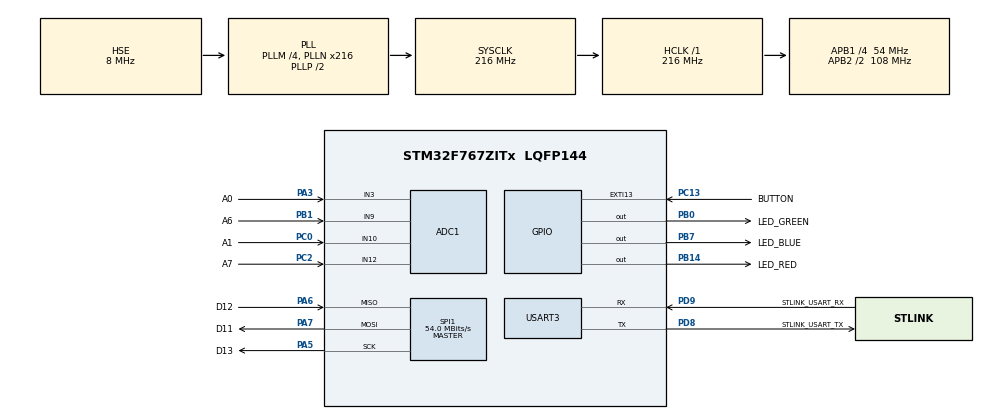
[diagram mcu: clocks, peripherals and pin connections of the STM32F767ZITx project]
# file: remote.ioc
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ADC1.Channel-0\#ChannelRegularConversion=ADC_CHANNEL_9
ADC1.NbrOfConversionFlag=1
ADC1.Rank-0\#ChannelRegularConversion=1
ADC1.SamplingTime-0\#ChannelRegularConversion=ADC_SAMPLETIME_3CYCLES
ADC1.master=1
FREERTOS.Tasks01=adcTask,0,128,StartAdcTask,Default,NULL,Dynamic,NULL,NULL;blinkTask,-3,128,StartBlinkTask,Default,NULL,Dynamic,NULL,NULL
Mcu.Family=STM32F7
Mcu.Name=STM32F767ZITx
Mcu.Package=LQFP144
NVIC.EXTI15_10_IRQn=true\:5\:0\:false\:false\:true\:true\:true\:true
NVIC.PriorityGroup=NVIC_PRIORITYGROUP_4
NVIC.TIM2_IRQn=true\:0\:0\:false\:false\:true\:false\:false\:true
NVIC.TimeBase=TIM2_IRQn
NVIC.TimeBaseIP=TIM2
NVIC.USART3_IRQn=true\:5\:0\:false\:false\:true\:true\:true\:true
PA3.GPIO_Label=A0
PA3.Signal=ADCx_IN3
PA5.GPIO_Label=D13
PA5.Mode=Full_Duplex_Master
PA5.Signal=SPI1_SCK
PA6.GPIO_Label=D12
PA6.Mode=Full_Duplex_Master
PA6.Signal=SPI1_MISO
PA7.GPIO_Label=D11
PA7.Mode=Full_Duplex_Master
PA7.Signal=SPI1_MOSI
PB0.GPIO_Label=LED_GREEN
PB0.Signal=GPIO_Output
PB1.GPIO_Label=A6
PB1.Signal=ADCx_IN9
PB14.GPIO_Label=LED_RED
PB14.Signal=GPIO_Output
PB7.GPIO_Label=LED_BLUE
PB7.Signal=GPIO_Output
PC0.GPIO_Label=A1
PC0.Signal=ADCx_IN10
PC13.GPIO_Label=BUTTON
PC13.Signal=GPXTI13
PC14/OSC32_IN.Mode=LSE-External-Oscillator
PC14/OSC32_IN.Signal=RCC_OSC32_IN
PC15/OSC32_OUT.Mode=LSE-External-Oscillator
PC15/OSC32_OUT.Signal=RCC_OSC32_OUT
PC2.GPIO_Label=A7
PC2.Signal=ADCx_IN12
PD8.GPIO_Label=STLINK_USART_TX
PD8.Mode=Asynchronous
PD8.Signal=USART3_TX
PD9.GPIO_Label=STLINK_USART_RX
PD9.Mode=Asynchronous
PD9.Signal=USART3_RX
PH0/OSC_IN.Mode=HSE-External-Oscillator
PH0/OSC_IN.Signal=RCC_OSC_IN
PH1/OSC_OUT.Mode=HSE-External-Oscillator
PH1/OSC_OUT.Signal=RCC_OSC_OUT
ProjectManager.HeapSize=0x200
ProjectManager.StackSize=0x400
ProjectManager.TargetToolchain=EWARM V8.32
RCC.AHBFreq_Value=216000000
RCC.APB1CLKDivider=RCC_HCLK_DIV4
RCC.APB1Freq_Value=54000000
RCC.APB1TimFreq_Value=108000000
RCC.APB2CLKDivider=RCC_HCLK_DIV2
RCC.APB2Freq_Value=108000000
RCC.APB2TimFreq_Value=216000000
RCC.CortexFreq_Value=216000000
RCC.HCLKFreq_Value=216000000
RCC.HSE_VALUE=8000000
RCC.HSI_VALUE=16000000
RCC.PLLM=4
RCC.PLLN=216
RCC.PLLSourceVirtual=RCC_PLLSOURCE_HSE
RCC.SYSCLKFreq_VALUE=216000000
RCC.SYSCLKSource=RCC_SYSCLKSOURCE_PLLCLK
RCC.USBFreq_Value=216000000
RCC.VCOOutputFreq_Value=432000000
SH.ADCx_IN10.0=ADC1_IN10,IN10
SH.ADCx_IN12.0=ADC1_IN12,IN12
SH.ADCx_IN3.0=ADC1_IN3,IN3
SH.ADCx_IN9.0=ADC1_IN9,IN9
SPI1.CalculateBaudRate=54.0 MBits/s
SPI1.DataSize=SPI_DATASIZE_8BIT
SPI1.Direction=SPI_DIRECTION_2LINES
SPI1.Mode=SPI_MODE_MASTER
SPI1.VirtualType=VM_MASTER
USART3.VirtualMode-Asynchronous=VM_ASYNC
VP_FREERTOS_VS_CMSIS_V1.Mode=CMSIS_V1
VP_SYS_VS_tim2.Mode=TIM2
board=custom

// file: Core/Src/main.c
/* USER CODE BEGIN Header */
/**
  ******************************************************************************
  * @file           : main.c
  * @brief          : Main program body
  ******************************************************************************
  * @attention
  *
  * <h2><center>&copy; Copyright (c) 2021 STMicroelectronics.
  * All rights reserved.</center></h2>
  *
  * This software component is licensed by ST under Ultimate Liberty license
  * SLA0044, the "License"; You may not use this file except in compliance with
  * the License. You may obtain a copy of the License at:
  *                             www.st.com/SLA0044
  *
  ******************************************************************************
  */
/* USER CODE END Header */
#include "main.h"
#include "cmsis_os.h"

/* USER CODE BEGIN Includes */
#include <stdio.h>
/* USER CODE END Includes */

ADC_HandleTypeDef hadc1;

SPI_HandleTypeDef hspi1;

UART_HandleTypeDef huart3;

osThreadId adcTaskHandle;
osThreadId blinkTaskHandle;
/* USER CODE BEGIN PV */
int throttleValue;
int yawValue;
int pitchValue;
int rollValue;
/* USER CODE END PV */

void SystemClock_Config(void);
static void MX_GPIO_Init(void);
static void MX_USART3_UART_Init(void);
static void MX_ADC1_Init(void);
static void MX_SPI1_Init(void);
void StartAdcTask(void const * argument);
void StartBlinkTask(void const * argument);

/* USER CODE BEGIN 0 */
/**
  * @brief  Overwrite the standard printf function
  * @param  ch character
  * @param  stream stream of bytes
  * @retval sent character
  */
int fputc(int ch, FILE* stream)
{
  HAL_UART_Transmit(&huart3, (uint8_t *)&ch, 1, 0xFFFF);
  return ch;
}

/**
  * @brief  map a value from a given range to another given range
  * @param  x the value to map
  * @param  in_min first range min value
  * @param  in_max first range max value
  * @param  in_min second range min value
  * @param  in_max second range max value
  * @retval the mapped value
  */
int map(int x, int in_min, int in_max, int out_min, int out_max)
{
  return (x - in_min) * (out_max - out_min) / (in_max - in_min) + out_min;
}
/* USER CODE END 0 */

int main(void)
{

  /* MCU Configuration--------------------------------------------------------*/

  /* Reset of all peripherals, Initializes the Flash interface and the Systick. */
  HAL_Init();

  /* Configure the system clock */
  SystemClock_Config();

  /* Initialize all configured peripherals */
  MX_GPIO_Init();
  MX_USART3_UART_Init();
  MX_ADC1_Init();
  MX_SPI1_Init();

  /* Create the thread(s) */
  /* definition and creation of adcTask */
  osThreadDef(adcTask, StartAdcTask, osPriorityNormal, 0, 128);
  adcTaskHandle = osThreadCreate(osThread(adcTask), NULL);

  /* definition and creation of blinkTask */
  osThreadDef(blinkTask, StartBlinkTask, osPriorityIdle, 0, 128);
  blinkTaskHandle = osThreadCreate(osThread(blinkTask), NULL);

  /* Start scheduler */
  osKernelStart();

  /* We should never get here as control is now taken by the scheduler */
  /* Infinite loop */
  while (1)
  {

  }
}

void SystemClock_Config(void)
{
  RCC_OscInitTypeDef RCC_OscInitStruct = {0};
  RCC_ClkInitTypeDef RCC_ClkInitStruct = {0};
  RCC_PeriphCLKInitTypeDef PeriphClkInitStruct = {0};

  /** Configure LSE Drive Capability
  */
  HAL_PWR_EnableBkUpAccess();
  /** Configure the main internal regulator output voltage
  */
  __HAL_RCC_PWR_CLK_ENABLE();
  __HAL_PWR_VOLTAGESCALING_CONFIG(PWR_REGULATOR_VOLTAGE_SCALE1);
  /** Initializes the RCC Oscillators according to the specified parameters
  * in the RCC_OscInitTypeDef structure.
  */
  RCC_OscInitStruct.OscillatorType = RCC_OSCILLATORTYPE_HSE;
  RCC_OscInitStruct.HSEState = RCC_HSE_ON;
  RCC_OscInitStruct.PLL.PLLState = RCC_PLL_ON;
  RCC_OscInitStruct.PLL.PLLSource = RCC_PLLSOURCE_HSE;
  RCC_OscInitStruct.PLL.PLLM = 4;
  RCC_OscInitStruct.PLL.PLLN = 216;
  RCC_OscInitStruct.PLL.PLLP = RCC_PLLP_DIV2;
  RCC_OscInitStruct.PLL.PLLQ = 2;
  if (HAL_RCC_OscConfig(&RCC_OscInitStruct) != HAL_OK)
  {
    Error_Handler();
  }
  /** Activate the Over-Drive mode
  */
  if (HAL_PWREx_EnableOverDrive() != HAL_OK)
  {
    Error_Handler();
  }
  /** Initializes the CPU, AHB and APB buses clocks
  */
  RCC_ClkInitStruct.ClockType = RCC_CLOCKTYPE_HCLK|RCC_CLOCKTYPE_SYSCLK
                              |RCC_CLOCKTYPE_PCLK1|RCC_CLOCKTYPE_PCLK2;
  RCC_ClkInitStruct.SYSCLKSource = RCC_SYSCLKSOURCE_PLLCLK;
  RCC_ClkInitStruct.AHBCLKDivider = RCC_SYSCLK_DIV1;
  RCC_ClkInitStruct.APB1CLKDivider = RCC_HCLK_DIV4;
  RCC_ClkInitStruct.APB2CLKDivider = RCC_HCLK_DIV2;

  if (HAL_RCC_ClockConfig(&RCC_ClkInitStruct, FLASH_LATENCY_7) != HAL_OK)
  {
    Error_Handler();
  }
  PeriphClkInitStruct.PeriphClockSelection = RCC_PERIPHCLK_USART3;
  PeriphClkInitStruct.Usart3ClockSelection = RCC_USART3CLKSOURCE_PCLK1;
  if (HAL_RCCEx_PeriphCLKConfig(&PeriphClkInitStruct) != HAL_OK)
  {
    Error_Handler();
  }
}

static void MX_ADC1_Init(void)
{

  ADC_ChannelConfTypeDef sConfig = {0};

  /** Configure the global features of the ADC (Clock, Resolution, Data Alignment and number of conversion)
  */
  hadc1.Instance = ADC1;
  hadc1.Init.ClockPrescaler = ADC_CLOCK_SYNC_PCLK_DIV4;
  hadc1.Init.Resolution = ADC_RESOLUTION_12B;
  hadc1.Init.ScanConvMode = ADC_SCAN_DISABLE;
  hadc1.Init.ContinuousConvMode = DISABLE;
  hadc1.Init.DiscontinuousConvMode = DISABLE;
  hadc1.Init.ExternalTrigConvEdge = ADC_EXTERNALTRIGCONVEDGE_NONE;
  hadc1.Init.ExternalTrigConv = ADC_SOFTWARE_START;
  hadc1.Init.DataAlign = ADC_DATAALIGN_RIGHT;
  hadc1.Init.NbrOfConversion = 1;
  hadc1.Init.DMAContinuousRequests = DISABLE;
  hadc1.Init.EOCSelection = ADC_EOC_SINGLE_CONV;
  if (HAL_ADC_Init(&hadc1) != HAL_OK)
  {
    Error_Handler();
  }
  /** Configure for the selected ADC regular channel its corresponding rank in the sequencer and its sample time.
  */
  sConfig.Channel = ADC_CHANNEL_9;
  sConfig.Rank = ADC_REGULAR_RANK_1;
  sConfig.SamplingTime = ADC_SAMPLETIME_3CYCLES;
  if (HAL_ADC_ConfigChannel(&hadc1, &sConfig) != HAL_OK)
  {
    Error_Handler();
  }

}

static void MX_SPI1_Init(void)
{

  /* SPI1 parameter configuration*/
  hspi1.Instance = SPI1;
  hspi1.Init.Mode = SPI_MODE_MASTER;
  hspi1.Init.Direction = SPI_DIRECTION_2LINES;
  hspi1.Init.DataSize = SPI_DATASIZE_8BIT;
  hspi1.Init.CLKPolarity = SPI_POLARITY_LOW;
  hspi1.Init.CLKPhase = SPI_PHASE_1EDGE;
  hspi1.Init.NSS = SPI_NSS_SOFT;
  hspi1.Init.BaudRatePrescaler = SPI_BAUDRATEPRESCALER_2;
  hspi1.Init.FirstBit = SPI_FIRSTBIT_MSB;
  hspi1.Init.TIMode = SPI_TIMODE_DISABLE;
  hspi1.Init.CRCCalculation = SPI_CRCCALCULATION_DISABLE;
  hspi1.Init.CRCPolynomial = 7;
  hspi1.Init.CRCLength = SPI_CRC_LENGTH_DATASIZE;
  hspi1.Init.NSSPMode = SPI_NSS_PULSE_ENABLE;
  if (HAL_SPI_Init(&hspi1) != HAL_OK)
  {
    Error_Handler();
  }

}

static void MX_USART3_UART_Init(void)
{

  huart3.Instance = USART3;
  huart3.Init.BaudRate = 115200;
  huart3.Init.WordLength = UART_WORDLENGTH_8B;
  huart3.Init.StopBits = UART_STOPBITS_1;
  huart3.Init.Parity = UART_PARITY_NONE;
  huart3.Init.Mode = UART_MODE_TX_RX;
  huart3.Init.HwFlowCtl = UART_HWCONTROL_NONE;
  huart3.Init.OverSampling = UART_OVERSAMPLING_16;
  huart3.Init.OneBitSampling = UART_ONE_BIT_SAMPLE_DISABLE;
  huart3.AdvancedInit.AdvFeatureInit = UART_ADVFEATURE_NO_INIT;
  if (HAL_UART_Init(&huart3) != HAL_OK)
  {
    Error_Handler();
  }

}

static void MX_GPIO_Init(void)
{
  GPIO_InitTypeDef GPIO_InitStruct = {0};

  /* GPIO Ports Clock Enable */
  __HAL_RCC_GPIOC_CLK_ENABLE();
  __HAL_RCC_GPIOH_CLK_ENABLE();
  __HAL_RCC_GPIOA_CLK_ENABLE();
  __HAL_RCC_GPIOB_CLK_ENABLE();
  __HAL_RCC_GPIOD_CLK_ENABLE();

  /*Configure GPIO pin Output Level */
  HAL_GPIO_WritePin(GPIOB, LED_GREEN_Pin|LED_RED_Pin|LED_BLUE_Pin, GPIO_PIN_RESET);

  /*Configure GPIO pin : BUTTON_Pin */
  GPIO_InitStruct.Pin = BUTTON_Pin;
  GPIO_InitStruct.Mode = GPIO_MODE_IT_RISING;
  GPIO_InitStruct.Pull = GPIO_NOPULL;
  HAL_GPIO_Init(BUTTON_GPIO_Port, &GPIO_InitStruct);

  /*Configure GPIO pins : LED_GREEN_Pin LED_RED_Pin LED_BLUE_Pin */
  GPIO_InitStruct.Pin = LED_GREEN_Pin|LED_RED_Pin|LED_BLUE_Pin;
  GPIO_InitStruct.Mode = GPIO_MODE_OUTPUT_PP;
  GPIO_InitStruct.Pull = GPIO_NOPULL;
  GPIO_InitStruct.Speed = GPIO_SPEED_FREQ_LOW;
  HAL_GPIO_Init(GPIOB, &GPIO_InitStruct);

  /* EXTI interrupt init*/
  HAL_NVIC_SetPriority(EXTI15_10_IRQn, 5, 0);
  HAL_NVIC_EnableIRQ(EXTI15_10_IRQn);

}

/* USER CODE BEGIN 4 */
/**
  * @brief  Read ADC value from a given channel
  * @param  adcChannel given adc channel
  * @param  adcValue pointer to the read value
  * @retval HAL status
  */
static HAL_StatusTypeDef ReadAdcChannel(uint32_t adcChannel, int *adcValue)
{
  HAL_StatusTypeDef retVal;
  ADC_ChannelConfTypeDef sConfig = {0};

  retVal = HAL_ERROR;
  /** Configure for the selected ADC regular channel its corresponding rank in the sequencer and its sample time.
  */
  sConfig.Channel = adcChannel;
  sConfig.Rank = ADC_REGULAR_RANK_1;
  sConfig.SamplingTime = ADC_SAMPLETIME_3CYCLES;
  if (HAL_ADC_ConfigChannel(&hadc1, &sConfig) != HAL_OK)
  {
    Error_Handler();
  }
  /* 1. Start the conversion process */
  if (HAL_ADC_Start(&hadc1) != HAL_OK)
  {
    /* Start Conversation Error */
    Error_Handler();
  }
  /* 2. Wait for the end of conversion */
  if (HAL_ADC_PollForConversion(&hadc1, 10) != HAL_OK)
  {
    retVal = HAL_TIMEOUT;
    /* End Of Conversion flag not set on time */
    Error_Handler();
  }
  else
  {
    /* ADC conversion completed */
    /* 3. Get the converted value of regular channel */
    *adcValue = HAL_ADC_GetValue(&hadc1);
    retVal = HAL_OK;
  }
  return retVal;
}

/**
  * @brief  EXTI line detection callbacks.
  * @param  GPIO_Pin Specifies the pins connected EXTI line
  * @retval None
  */
void HAL_GPIO_EXTI_Callback(uint16_t GPIO_Pin)
{
  if(BUTTON_Pin == GPIO_Pin)
  {
  }
}
/* USER CODE END 4 */

void StartAdcTask(void const * argument)
{
  /* USER CODE BEGIN 5 */
  /* Infinite loop */
  for(;;)
  {
    ReadAdcChannel(ADC_CHANNEL_9, &throttleValue);
    throttleValue = map(throttleValue, 530, 3400, 0, 255);
    ReadAdcChannel(ADC_CHANNEL_12, &yawValue);
    yawValue = map(yawValue, 1400, 2460, 0, 255);
    ReadAdcChannel(ADC_CHANNEL_3, &pitchValue);
    pitchValue = map(pitchValue, 1980, 3610, 0, 255);
    ReadAdcChannel(ADC_CHANNEL_10, &rollValue);
    rollValue = map(rollValue, 2040, 390, 0, 255);
    printf("%d  %d        %d  %d\r\n", throttleValue, yawValue, pitchValue, rollValue);
    osDelay(100);
  }
  /* USER CODE END 5 */
}

void StartBlinkTask(void const * argument)
{
  /* USER CODE BEGIN StartBlinkTask */
  /* Infinite loop */
  for(;;)
  {
    HAL_GPIO_TogglePin(LED_RED_GPIO_Port, LED_RED_Pin);
    osDelay(50);
    HAL_GPIO_TogglePin(LED_BLUE_GPIO_Port, LED_BLUE_Pin);
    osDelay(50);
    HAL_GPIO_TogglePin(LED_GREEN_GPIO_Port, LED_GREEN_Pin);
    osDelay(50);
  }
  /* USER CODE END StartBlinkTask */
}

 /**
  * @brief  Period elapsed callback in non blocking mode
  * @note   This function is called  when TIM2 interrupt took place, inside
  * HAL_TIM_IRQHandler(). It makes a direct call to HAL_IncTick() to increment
  * a global variable "uwTick" used as application time base.
  * @param  htim : TIM handle
  * @retval None
  */
void HAL_TIM_PeriodElapsedCallback(TIM_HandleTypeDef *htim)
{
  if (htim->Instance == TIM2) {
    HAL_IncTick();
  }
}

void Error_Handler(void)
{
  __disable_irq();
  while (1)
  {
  }
}

/************************ (C) COPYRIGHT STMicroelectronics *****END OF FILE****/
